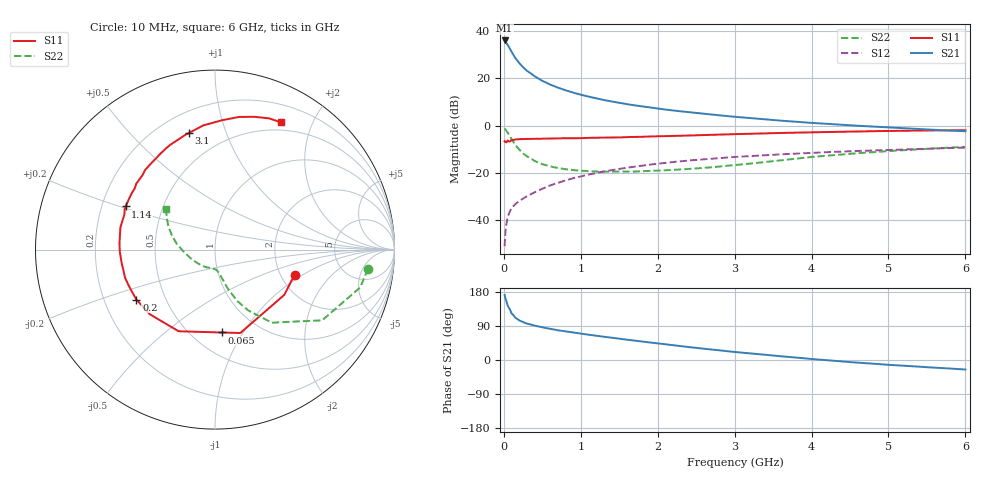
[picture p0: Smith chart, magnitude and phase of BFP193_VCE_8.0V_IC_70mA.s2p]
! Infineon Technologies  Discrete & RF Semiconductors
! BFP193
! VCE = 8.0 V,  IC =  70 mA
! Common Emitter S-Parameters:  Jan 2016
# GHz  S  MA  R  50
!  f  S11  S21  S12  S22
! GHz  MAG  ANG  MAG  ANG  MAG  ANG  MAG  ANG
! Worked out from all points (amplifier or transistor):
!   210 points, 10 MHz to 6 GHz, reference 50 ohm
!   highest |S21| = 36.1 dB at 10 MHz (marker M1)
!   |S21| within 3 dB of that: start of sweep to 69.03 MHz
!   unconditionally stable (mu >= 1): 489.6 MHz to 4.227 GHz
!   at 185 MHz: K = 0.70, MSG = 29.7 dB, |S12| = -32.3 dB
!   at 1.52 GHz: K = 1.08, MAG = 12.1 dB, |S12| = -18.2 dB
!   at 6 GHz: K = 0.95, MSG = 3.5 dB, |S12| = -9.3 dB
!   S11 on the Smith chart (normalised r, x): 10 MHz: 2.38, -0.85; 65 MHz: 0.69, -0.81; 200 MHz: 0.34, -0.26; 1.14 GHz: 0.30, +0.21; 3.1 GHz: 0.32, +0.75; 6 GHz: 0.40, +1.57
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0.01  0.465 -17.4  63.62 171.4  0.0028 76.4  0.8591 -7.2
0.02  0.4613 -33.1  60.67 162.6  0.0055 74.4  0.836 -14.6
0.05  0.4857 -73.1  51.31 143.3  0.0116 64.0  0.7154 -33.4
0.065  0.4634 -85.3  46.32 138.6  0.0135 61.3  0.6494 -37.8
0.1  0.498 -114.0  36.41 123.1  0.0179 57.2  0.5162 -52.1
0.15  0.5117 -135.3  26.87 111.5  0.0218 55.2  0.3868 -61.3
0.2  0.519 -147.5  21.12 104.5  0.0254 56.0  0.3105 -66.7
0.26  0.5211 -157.8  16.63 98.9  0.0293 57.3  0.2501 -70.1
0.3  0.525 -162.4  14.5 96.0  0.0319 58.9  0.2241 -72.1
0.4  0.5256 -172.2  11.06 90.7  0.0388 61.5  0.1788 -74.9
0.5  0.5305 -178.8  8.873 86.2  0.046 63.0  0.1526 -77.2
0.6  0.5335 175.9  7.43 82.3  0.054 63.7  0.137 -79.3
0.7  0.5357 171.1  6.399 78.5  0.0613 64.2  0.1266 -81.4
0.9  0.5398 162.8  4.993 72.4  0.0769 63.4  0.1139 -85.8
1.02  0.5435 158.1  4.429 69.1  0.0856 62.8  0.1103 -89.0
1.14  0.5524 154.2  3.98 65.7  0.0947 61.9  0.1077 -92.9
1.6  0.5723 140.0  2.845 53.6  0.1284 57.1  0.1066 -107.6
2.02  0.5948 128.4  2.274 43.4  0.1574 51.6  0.1117 -123.5
3.1  0.6653 102.8  1.491 19.3  0.2216 37.8  0.1509 -165.0
4.1  0.7265 85.5  1.117 1.1  0.2698 25.9  0.2238 168.9
5.1  0.7748 72.3  0.898 -13.9  0.3093 14.9  0.2958 152.1
6  0.798 62.6  0.761 -25.1  0.3425 5.4  0.3562 140.0
